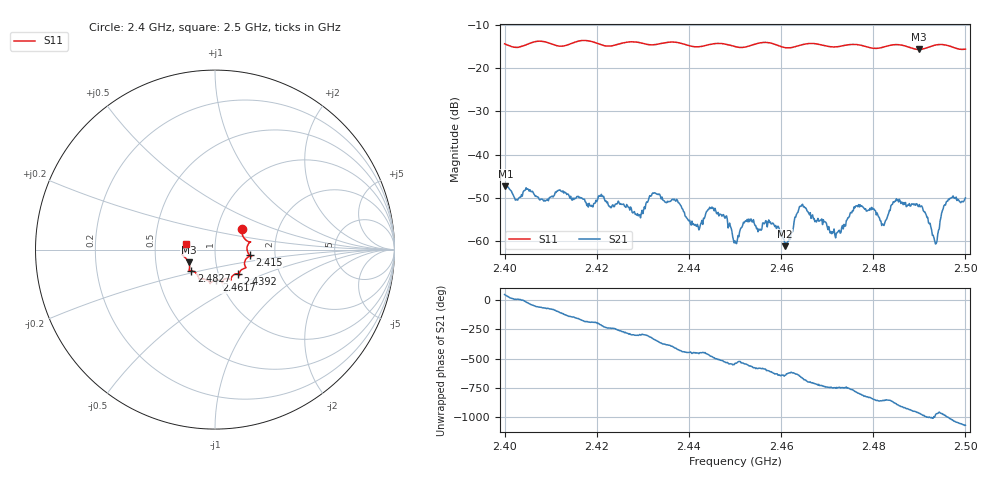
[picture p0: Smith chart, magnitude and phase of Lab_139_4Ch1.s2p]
# Hz S RI R 50
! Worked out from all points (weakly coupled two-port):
!   601 points, 2.4 GHz to 2.5 GHz, reference 50 ohm
!   highest |S21| = -47.33 dB at 2.4002 GHz (marker M1); lowest = -61.1 dB at 2.4608 GHz (marker M2)
!   lowest |S11| = -15.7 dB at 2.4898 GHz (marker M3), VSWR 1.39, Z = 36.9 - j5.41 ohm
!   |S11| at or under -10 dB: start of sweep to end of sweep
!   S12 and S22 are empty: the file has one direction only
!   S11 on the Smith chart (normalised r, x): 2.4 GHz: 1.31, +0.31; 2.415 GHz: 1.48, -0.10; 2.4392 GHz: 1.24, -0.35; 2.4617 GHz: 0.96, -0.34; 2.4827 GHz: 0.75, -0.18; 2.5 GHz: 0.72, +0.05
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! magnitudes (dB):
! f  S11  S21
! 2.4 GHz  -14.4  -47.5
! 2.4002 GHz  -14.5  -47.3
! 2.415 GHz  -14.2  -50.4
! 2.4167 GHz  -13.7  -50.0
! 2.429 GHz  -14.1  -54.1
! 2.4333 GHz  -14.5  -49.2
! 2.4392 GHz  -14.6  -54.1
! 2.4453 GHz  -14.4  -52.3
! 2.45 GHz  -15.1  -59.9
! 2.453 GHz  -15.0  -54.9
! 2.4608 GHz  -15.3  -61.1
! 2.4617 GHz  -15.4  -59.9
! 2.4642 GHz  -14.8  -51.9
! 2.4667 GHz  -14.3  -54.1
! 2.4715 GHz  -15.2  -57.2
! 2.4767 GHz  -14.6  -52.0
! 2.4827 GHz  -15.1  -55.2
! 2.4833 GHz  -14.9  -53.6
! 2.4898 GHz  -15.7  -52.0
! 2.4933 GHz  -14.8  -59.9
! 2.4958 GHz  -14.7  -50.9
! 2.5 GHz  -15.6  -50.0
